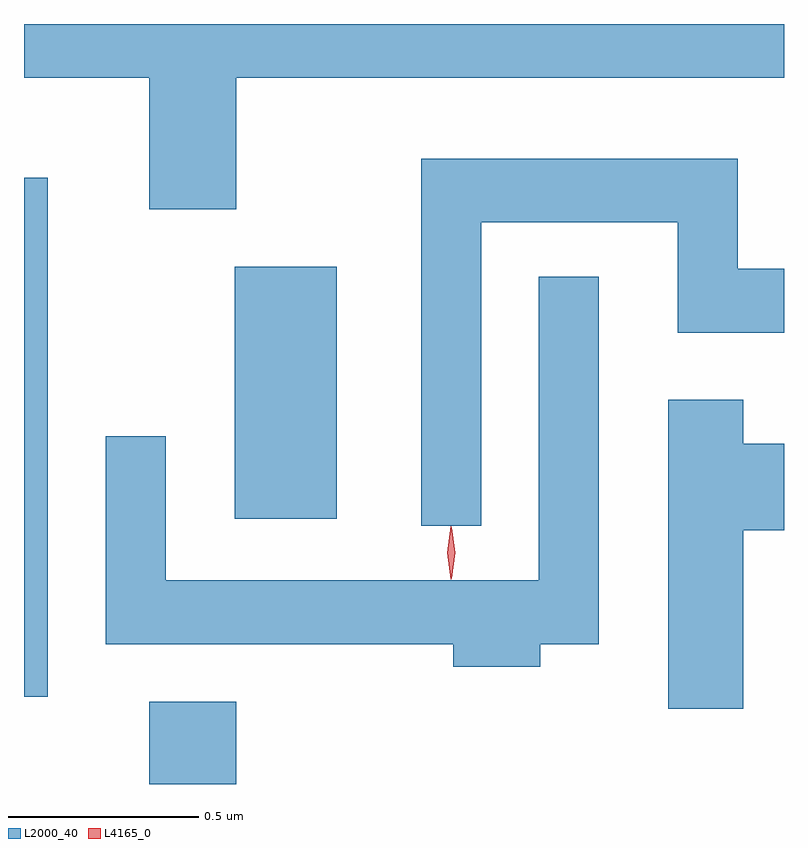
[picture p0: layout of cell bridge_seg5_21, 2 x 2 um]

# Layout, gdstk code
import gdstk
lib = gdstk.Library(unit=1e-6, precision=1e-09)
def R(c, l, rs):  # rectangles x0, y0, x1, y1
    for r in rs: c.add(gdstk.rectangle(r[:2], r[2:], *l))
def P(c, l, *ps):  # polygons
    for p in ps: c.add(gdstk.Polygon(p, *l))
L2000_40 = (2000, 40)
L4165_0 = (4165, 0)

bridge_seg5_21 = lib.new_cell('bridge_seg5_21')
R(bridge_seg5_21, L2000_40, [(1228.471,1472.698,1228.699,1472.914), (1228.141,1472.928,1228.204,1474.294), (1228.696,1473.396,1228.964,1474.059)])
P(bridge_seg5_21, L2000_40, [(1228.699,1474.556),(1230.141,1474.556),(1230.141,1474.698),(1228.141,1474.698),(1228.141,1474.556),(1228.471,1474.556),(1228.471,1474.211),(1228.699,1474.211)],
  [(1229.344,1474.176),(1229.861,1474.176),(1229.861,1473.886),(1230.141,1473.886),(1230.141,1474.054),(1230.019,1474.054),(1230.019,1474.344),(1229.186,1474.344),(1229.186,1473.378),(1229.344,1473.378)],
  [(1229.499,1473.066),(1229.654,1473.066),(1229.654,1474.033),(1229.496,1474.033),(1229.496,1473.234),(1228.514,1473.234),(1228.514,1473.613),(1228.356,1473.613),(1228.356,1473.066),(1229.271,1473.066),(1229.271,1473.006),(1229.499,1473.006)],
  [(1230.034,1473.366),(1230.141,1473.366),(1230.141,1473.594),(1230.034,1473.594),(1230.034,1473.709),(1229.836,1473.709),(1229.836,1472.896),(1230.034,1472.896)])
P(bridge_seg5_21, L4165_0, [(1229.264,1473.237),(1229.255,1473.306),(1229.264,1473.376),(1229.265,1473.376),(1229.265,1473.376),(1229.275,1473.306),(1229.265,1473.237),(1229.265,1473.237)],
  [(1229.265,1473.24),(1229.256,1473.306),(1229.265,1473.372),(1229.265,1473.373),(1229.266,1473.372),(1229.276,1473.306),(1229.266,1473.24),(1229.266,1473.24)])

lib.write_gds('bridge_seg5_21.gds')
